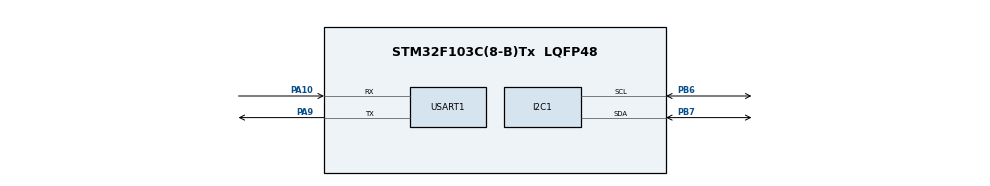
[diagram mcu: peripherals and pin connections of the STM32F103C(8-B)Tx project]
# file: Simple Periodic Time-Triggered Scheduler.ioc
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Mcu.Family=STM32F1
Mcu.Name=STM32F103C(8-B)Tx
Mcu.Package=LQFP48
NVIC.PriorityGroup=NVIC_PRIORITYGROUP_4
NVIC.TIM2_IRQn=true\:0\:0\:false\:false\:true\:true\:true\:true
PA10.Mode=Asynchronous
PA10.Signal=USART1_RX
PA13.Mode=Serial_Wire
PA13.Signal=SYS_JTMS-SWDIO
PA14.Mode=Serial_Wire
PA14.Signal=SYS_JTCK-SWCLK
PA9.Mode=Asynchronous
PA9.Signal=USART1_TX
PB6.Mode=I2C
PB6.Signal=I2C1_SCL
PB7.Mode=I2C
PB7.Signal=I2C1_SDA
ProjectManager.HeapSize=0x200
ProjectManager.StackSize=0x400
ProjectManager.TargetToolchain=STM32CubeIDE
RCC.APB1Freq_Value=8000000
RCC.APB2Freq_Value=8000000
TIM2.Prescaler=8399
USART1.VirtualMode=VM_ASYNC
VP_TIM2_VS_ClockSourceINT.Mode=Internal
board=custom

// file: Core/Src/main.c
/* USER CODE BEGIN Header */
/**
  ******************************************************************************
  * @file           : main.c
  * @brief          : Main program body
  ******************************************************************************
  * @attention
  *
  * Copyright (c) 2025 STMicroelectronics.
  * All rights reserved.
  *
  * This software is licensed under terms that can be found in the LICENSE file
  * in the root directory of this software component.
  * If no LICENSE file comes with this software, it is provided AS-IS.
  *
  ******************************************************************************
  */
/* USER CODE END Header */
#include "main.h"

/* USER CODE BEGIN Includes */
#include "DHT.h"
#include "lcd_i2c.h"
#include "stdio.h"
/* USER CODE END Includes */

I2C_HandleTypeDef hi2c1;

TIM_HandleTypeDef htim2;

UART_HandleTypeDef huart1;

/* USER CODE BEGIN PV */
DHT_DataTypedef dht;
char message[300];
char temp[50];
char humid[50];
/* USER CODE END PV */

void SystemClock_Config(void);
static void MX_GPIO_Init(void);
static void MX_TIM2_Init(void);
static void MX_I2C1_Init(void);
static void MX_USART1_UART_Init(void);
void task1();
void task2();
void task3();

/* USER CODE BEGIN 0 */
void HAL_TIM_PeriodElapsedCallback(TIM_HandleTypeDef *htim) {
    if (htim->Instance == TIM2) { // Kiểm tra nếu ngắt từ TIM2
        // Thực hiện tuần tự Task 1 → Task 2 → Task 3
        task1(); // Thực hiện Task 1

        task2(); // Thực hiện Task 2

        task3(); // Thực hiện Task 3

        // Kết thúc chương trình ngắt
    }
}
/* USER CODE END 0 */

int main(void)
{

  /* MCU Configuration--------------------------------------------------------*/

  /* Reset of all peripherals, Initializes the Flash interface and the Systick. */
  HAL_Init();

  /* Configure the system clock */
  SystemClock_Config();

  /* Initialize all configured peripherals */
  MX_GPIO_Init();
  MX_TIM2_Init();
  MX_I2C1_Init();
  MX_USART1_UART_Init();
  /* USER CODE BEGIN 2 */
  lcd_init();
  HAL_TIM_Base_Start_IT(&htim2); // Bắt đầu timer với ngắt
  /* USER CODE END 2 */

  /* Infinite loop */
  while (1)
  {

  }
}

void SystemClock_Config(void)
{
  RCC_OscInitTypeDef RCC_OscInitStruct = {0};
  RCC_ClkInitTypeDef RCC_ClkInitStruct = {0};

  /** Initializes the RCC Oscillators according to the specified parameters
  * in the RCC_OscInitTypeDef structure.
  */
  RCC_OscInitStruct.OscillatorType = RCC_OSCILLATORTYPE_HSI;
  RCC_OscInitStruct.HSIState = RCC_HSI_ON;
  RCC_OscInitStruct.HSICalibrationValue = RCC_HSICALIBRATION_DEFAULT;
  RCC_OscInitStruct.PLL.PLLState = RCC_PLL_NONE;
  if (HAL_RCC_OscConfig(&RCC_OscInitStruct) != HAL_OK)
  {
    Error_Handler();
  }

  /** Initializes the CPU, AHB and APB buses clocks
  */
  RCC_ClkInitStruct.ClockType = RCC_CLOCKTYPE_HCLK|RCC_CLOCKTYPE_SYSCLK
                              |RCC_CLOCKTYPE_PCLK1|RCC_CLOCKTYPE_PCLK2;
  RCC_ClkInitStruct.SYSCLKSource = RCC_SYSCLKSOURCE_HSI;
  RCC_ClkInitStruct.AHBCLKDivider = RCC_SYSCLK_DIV1;
  RCC_ClkInitStruct.APB1CLKDivider = RCC_HCLK_DIV1;
  RCC_ClkInitStruct.APB2CLKDivider = RCC_HCLK_DIV1;

  if (HAL_RCC_ClockConfig(&RCC_ClkInitStruct, FLASH_LATENCY_0) != HAL_OK)
  {
    Error_Handler();
  }
}

static void MX_I2C1_Init(void)
{

  hi2c1.Instance = I2C1;
  hi2c1.Init.ClockSpeed = 100000;
  hi2c1.Init.DutyCycle = I2C_DUTYCYCLE_2;
  hi2c1.Init.OwnAddress1 = 0;
  hi2c1.Init.AddressingMode = I2C_ADDRESSINGMODE_7BIT;
  hi2c1.Init.DualAddressMode = I2C_DUALADDRESS_DISABLE;
  hi2c1.Init.OwnAddress2 = 0;
  hi2c1.Init.GeneralCallMode = I2C_GENERALCALL_DISABLE;
  hi2c1.Init.NoStretchMode = I2C_NOSTRETCH_DISABLE;
  if (HAL_I2C_Init(&hi2c1) != HAL_OK)
  {
    Error_Handler();
  }

}

static void MX_TIM2_Init(void)
{

  TIM_ClockConfigTypeDef sClockSourceConfig = {0};
  TIM_MasterConfigTypeDef sMasterConfig = {0};

  htim2.Instance = TIM2;
  htim2.Init.Prescaler = 8399;
  htim2.Init.CounterMode = TIM_COUNTERMODE_UP;
  htim2.Init.Period = 65535;
  htim2.Init.ClockDivision = TIM_CLOCKDIVISION_DIV1;
  htim2.Init.AutoReloadPreload = TIM_AUTORELOAD_PRELOAD_DISABLE;
  if (HAL_TIM_Base_Init(&htim2) != HAL_OK)
  {
    Error_Handler();
  }
  sClockSourceConfig.ClockSource = TIM_CLOCKSOURCE_INTERNAL;
  if (HAL_TIM_ConfigClockSource(&htim2, &sClockSourceConfig) != HAL_OK)
  {
    Error_Handler();
  }
  sMasterConfig.MasterOutputTrigger = TIM_TRGO_RESET;
  sMasterConfig.MasterSlaveMode = TIM_MASTERSLAVEMODE_DISABLE;
  if (HAL_TIMEx_MasterConfigSynchronization(&htim2, &sMasterConfig) != HAL_OK)
  {
    Error_Handler();
  }

}

static void MX_USART1_UART_Init(void)
{

  huart1.Instance = USART1;
  huart1.Init.BaudRate = 115200;
  huart1.Init.WordLength = UART_WORDLENGTH_8B;
  huart1.Init.StopBits = UART_STOPBITS_1;
  huart1.Init.Parity = UART_PARITY_NONE;
  huart1.Init.Mode = UART_MODE_TX_RX;
  huart1.Init.HwFlowCtl = UART_HWCONTROL_NONE;
  huart1.Init.OverSampling = UART_OVERSAMPLING_16;
  if (HAL_UART_Init(&huart1) != HAL_OK)
  {
    Error_Handler();
  }

}

static void MX_GPIO_Init(void)
{

  /* GPIO Ports Clock Enable */
  __HAL_RCC_GPIOA_CLK_ENABLE();
  __HAL_RCC_GPIOB_CLK_ENABLE();

}

/* USER CODE BEGIN 4 */
void task1(){
	 //HAL_GPIO_TogglePin(GPIOA, GPIO_PIN_5);
	DHT_GetData(&dht);
}

void task2(){
	 //HAL_GPIO_TogglePin(GPIOA, GPIO_PIN_6);
	uint8_t length = snprintf(message, sizeof(message), "Nhiet do: %f va Do am: %f", dht.Temperature, dht.Humidity);
	HAL_UART_Transmit(&huart1, (uint8_t*)message, length, HAL_MAX_DELAY);
}

void task3(){
	//HAL_GPIO_TogglePin(GPIOA, GPIO_PIN_7);
	lcd_put_cur(0,0);
	snprintf(temp,sizeof(temp),"Nhiet do: %f",dht.Temperature);
	snprintf(humid,sizeof(humid),"Do am: %f",dht.Humidity);
	lcd_send_string(temp);
	lcd_put_cur(1,0);
	lcd_send_string(humid);
}
/* USER CODE END 4 */

void Error_Handler(void)
{
  __disable_irq();
  while (1)
  {
  }
}
